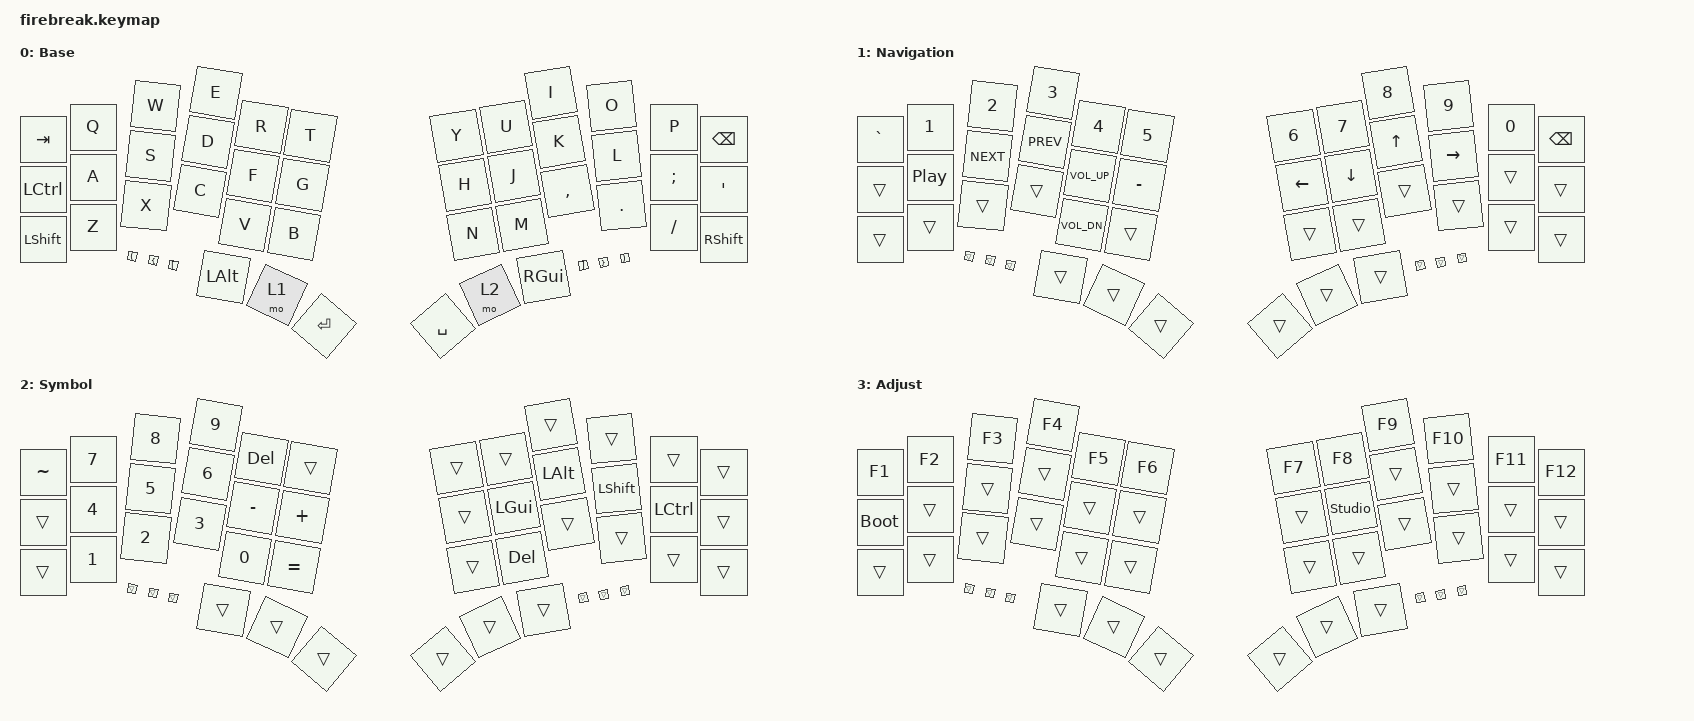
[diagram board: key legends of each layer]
#include <behaviors.dtsi>
#include <dt-bindings/zmk/keys.h>

/ {
    keymap {
        compatible = "zmk,keymap";

        default_layer { // Layer 0
            display-name = "Base";
            bindings = <
                &kp TAB    &kp Q    &kp W     &kp E     &kp R     &kp T          &kp Y     &kp U     &kp I     &kp O     &kp P     &kp BSPC
                &kp LCTRL  &kp A    &kp S     &kp D     &kp F     &kp G          &kp H     &kp J     &kp K     &kp L     &kp SEMI  &kp SQT
                &kp LSHFT  &kp Z    &kp X     &kp C     &kp V     &kp B          &kp N     &kp M     &kp COMMA &kp DOT   &kp FSLH  &kp RSHFT
                &kp LPAR   &kp LBRC &kp LBKT  &kp LALT  &mo 1     &kp RET        &kp SPC   &mo 2     &kp RGUI  &kp RBKT  &kp RBRC  &kp RPAR
            >;
        };

        nav_layer { // Layer 1
            display-name = "Navigation";
            bindings = <
                &kp GRAVE  &kp 1    &kp 2      &kp 3      &kp 4        &kp 5          &kp 6     &kp 7     &kp 8     &kp 9     &kp 0     &kp BSPC
                &trans     &kp C_PP &kp C_NEXT &kp C_PREV &kp C_VOL_UP &kp MINUS      &kp LEFT  &kp DOWN  &kp UP    &kp RIGHT &trans    &trans
                &trans     &trans   &trans     &trans     &kp C_VOL_DN &trans         &trans    &trans    &trans    &trans    &trans    &trans
                &trans     &trans   &trans     &trans     &trans       &trans         &trans    &trans    &trans    &trans    &trans    &trans
            >;
        };

        sym_layer { // Layer 2
            display-name = "Symbol";
            bindings = <
                &kp TILDE   &kp 7     &kp 8     &kp 9     &kp DEL   &trans         &trans    &trans    &trans    &trans    &trans    &trans
                &trans      &kp 4     &kp 5     &kp 6     &kp MINUS &kp PLUS       &trans    &kp LGUI  &kp LALT  &kp LSHFT &kp LCTRL &trans
                &trans      &kp 1     &kp 2     &kp 3     &kp 0     &kp EQUAL      &trans    &kp DEL   &trans    &trans    &trans    &trans
                &trans      &trans    &trans    &trans    &trans    &trans         &trans    &trans    &trans    &trans    &trans    &trans
             >;
         };

        adj_layer { // Layer 3
            display-name = "Adjust";
            bindings = <
                &kp F1     &kp F2   &kp F3    &kp F4    &kp F5    &kp F6            &kp F7    &kp F8    &kp F9    &kp F10   &kp F11   &kp F12
                &bootloader &trans  &trans    &trans    &trans    &trans            &trans    &studio_unlock &trans &trans   &trans    &trans
                &trans     &trans   &trans    &trans    &trans    &trans            &trans    &trans    &trans    &trans    &trans    &trans
                &trans     &trans   &trans    &trans    &trans    &trans            &trans    &trans    &trans    &trans    &trans    &trans
             >;
         };

         /*
        clone_layer { // Transparent layer to use as a base
            display-name = "Transparent";
            bindings = <
                &trans     &trans   &trans    &trans    &trans    &trans         &trans    &trans    &trans    &trans    &trans    &trans
                &trans     &trans   &trans    &trans    &trans    &trans         &trans    &trans    &trans    &trans    &trans    &trans
                &trans     &trans   &trans    &trans    &trans    &trans         &trans    &trans    &trans    &trans    &trans    &trans
                &trans     &trans   &trans    &trans    &trans    &trans         &trans    &trans    &trans    &trans    &trans    &trans
             >;
         };
         */

        // zmk studio custom layers
        extra1 {
            status = "reserved";
        };

        extra2 {
            status = "reserved";
        };
    };
 };

 / {
    combos {
        compatible = "zmk,combos";
        // [({})]
        combo_lbrc {
            bindings = <&kp LBKT>;
            key-positions = <2 14>; // KC_W, KC_S
        };
        combo_lprn {
            bindings = <&kp LPAR>;
            key-positions = <3 15>; // KC_E, KC_D
        };
        combo_lcbr {
            bindings = <&kp LBRC>;
            key-positions = <4 16>; // KC_R, KC_F
        };
        combo_rbrc {
            bindings = <&kp RBKT>;
            key-positions = <9 21>; // KC_O, KC_L
        };
        combo_rprn {
            bindings = <&kp RPAR>;
            key-positions = <10 22>; // KC_I, KC_K
        };
        combo_rcbr {
            bindings = <&kp RBRC>;
            key-positions = <11 23>; // KC_U, KC_J
        };
    };
};

/ {
    conditional_layers {
        compatible = "zmk,conditional-layers";
        tri_layer {
            if-layers = <1 2>;
            then-layer = <3>;
        };
    };
};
